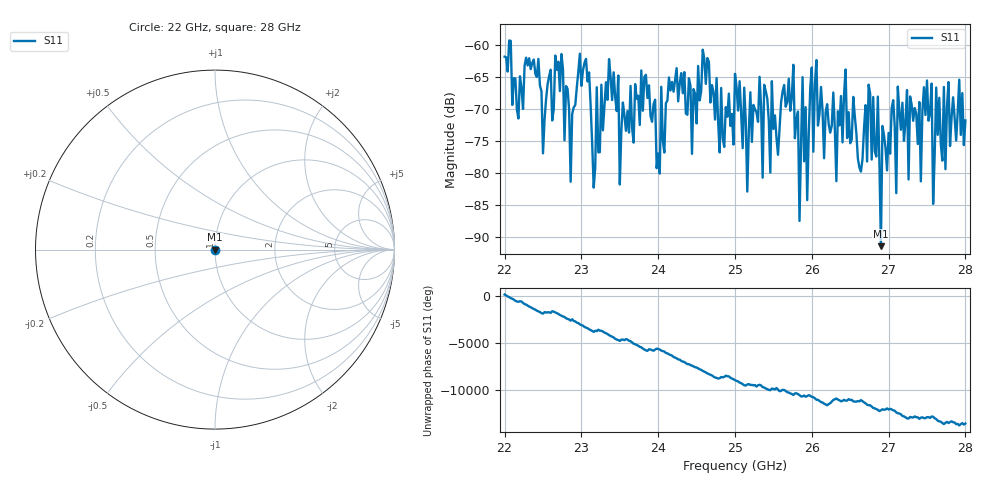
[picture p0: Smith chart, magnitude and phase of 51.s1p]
#  HZ  S  RI  R  50.00
! Rohde & Schwarz ZVA40 4Ports - Version 3.90 - 1145.1110k42 SN: 100403
! Date: 2023-10-04 07:53:29
! Measurement: S12
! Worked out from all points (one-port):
!   301 points, 22 GHz to 28 GHz, reference 50 ohm
!   lowest |S11| = -91.5 dB at 26.9 GHz (marker M1), VSWR 1.00, Z = 50 + j0.00146 ohm
!   |S11| at or under -10 dB: start of sweep to end of sweep
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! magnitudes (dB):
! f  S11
! 22 GHz  -61.8
! 22.44 GHz  -62.2
! 22.5 GHz  -77.0
! 22.76 GHz  -63.7
! 22.86 GHz  -81.4
! 22.98 GHz  -61.3
! 23.16 GHz  -82.3
! 23.48 GHz  -64.8
! 23.5 GHz  -81.8
! 23.78 GHz  -64.0
! 24.02 GHz  -80.1
! 24.26 GHz  -68.8
! 25 GHz  -64.5
! 25.46 GHz  -80.0
! 25.48 GHz  -65.7
! 25.56 GHz  -77.2
! 25.76 GHz  -63.1
! 25.84 GHz  -87.5
! 26.06 GHz  -62.3
! 26.16 GHz  -77.7
! 26.44 GHz  -63.8
! 26.5 GHz  -75.4
! 26.74 GHz  -66.2
! 26.9 GHz  -91.5
! 27.1 GHz  -83.2
! 27.12 GHz  -66.5
! 27.26 GHz  -81.0
! 28 GHz  -71.8
